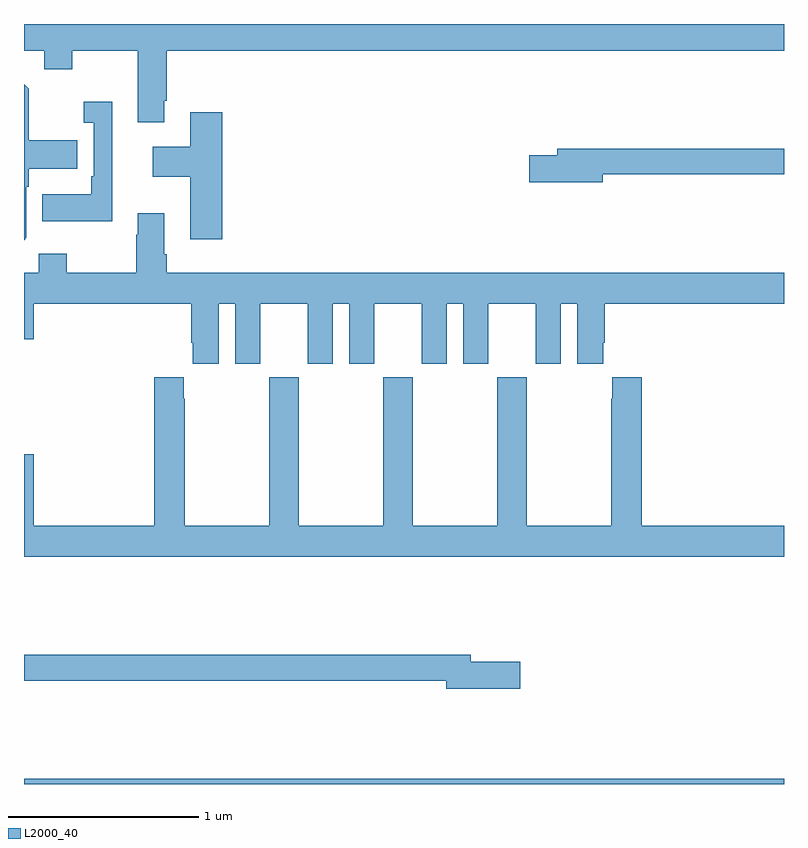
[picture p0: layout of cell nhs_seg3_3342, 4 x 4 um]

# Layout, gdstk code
import gdstk
lib = gdstk.Library(unit=1e-6, precision=1e-09)
def R(c, l, rs):  # rectangles x0, y0, x1, y1
    for r in rs: c.add(gdstk.rectangle(r[:2], r[2:], *l))
def P(c, l, *ps):  # polygons
    for p in ps: c.add(gdstk.Polygon(p, *l))
L2000_40 = (2000, 40)

nhs_seg3_3342 = lib.new_cell('nhs_seg3_3342')
R(nhs_seg3_3342, L2000_40, [(285,686.4,289,686.428)])
P(nhs_seg3_3342, L2000_40, [(285.739,689.995),(285.752,689.995),(285.752,690.26),(289,690.26),(289,690.4),(285,690.4),(285,690.26),(285.107,690.26),(285.107,690.161),(285.255,690.161),(285.255,690.26),(285.599,690.26),(285.599,689.883),(285.739,689.883)],
  [(285.012,689.274),(285.012,689.543),(285.025,689.543),(285.025,689.639),(285.281,689.639),(285.281,689.787),(285.025,689.787),(285.025,690.059),(285,690.084),(285,689.262)],
  [(285.464,689.992),(285.315,689.992),(285.315,689.879),(285.366,689.879),(285.366,689.599),(285.354,689.599),(285.354,689.503),(285.097,689.503),(285.097,689.363),(285.464,689.363)],
  [(286.043,689.935),(285.875,689.935),(285.875,689.755),(285.678,689.755),(285.678,689.597),(285.875,689.597),(285.875,689.268),(286.043,689.268)],
  [(288.046,689.608),(289,689.608),(289,689.744),(287.807,689.744),(287.807,689.708),(287.658,689.708),(287.658,689.566),(288.046,689.566)],
  [(286.024,688.928),(286.112,688.928),(286.112,688.611),(286.243,688.611),(286.243,688.928),(286.493,688.928),(286.493,688.611),(286.624,688.611),(286.624,688.928),(286.712,688.928),(286.712,688.611),(286.843,688.611),(286.843,688.928),(287.093,688.928),(287.093,688.611),(287.224,688.611),(287.224,688.928),(287.312,688.928),(287.312,688.611),(287.443,688.611),(287.443,688.928),(287.693,688.928),(287.693,688.611),(287.824,688.611),(287.824,688.928),(287.912,688.928),(287.912,688.611),(288.049,688.611),(288.049,688.723),(288.056,688.723),(288.056,688.928),(289,688.928),(289,689.092),(285.752,689.092),(285.752,689.188),(285.739,689.188),(285.739,689.404),(285.599,689.404),(285.599,689.291),(285.592,689.291),(285.592,689.092),(285.225,689.092),(285.225,689.191),(285.078,689.191),(285.078,689.092),(285,689.092),(285,688.74),(285.052,688.74),(285.052,688.928),(285.881,688.928),(285.881,688.723),(285.887,688.723),(285.887,688.611),(286.024,688.611)],
  [(286.291,688.54),(286.291,687.76),(285.846,687.76),(285.846,688.427),(285.841,688.427),(285.841,688.54),(285.686,688.54),(285.686,687.76),(285.052,687.76),(285.052,688.135),(285,688.135),(285,687.596),(289,687.596),(289,687.76),(288.251,687.76),(288.251,688.54),(288.095,688.54),(288.095,688.427),(288.091,688.427),(288.091,687.76),(287.646,687.76),(287.646,688.54),(287.491,688.54),(287.491,687.76),(287.046,687.76),(287.046,688.54),(286.891,688.54),(286.891,687.76),(286.446,687.76),(286.446,688.54)],
  [(287.611,687.044),(287.35,687.044),(287.35,687.08),(285,687.08),(285,686.944),(287.222,686.944),(287.222,686.902),(287.611,686.902)])

lib.write_gds('nhs_seg3_3342.gds')
